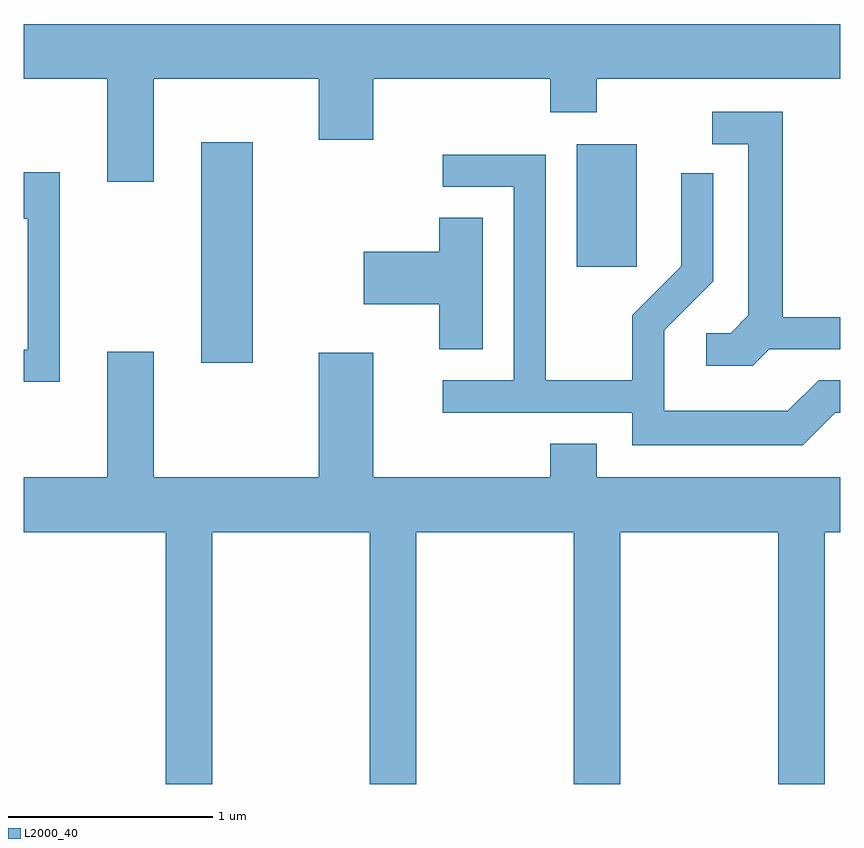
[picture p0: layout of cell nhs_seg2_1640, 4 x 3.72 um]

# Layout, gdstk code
import gdstk
lib = gdstk.Library(unit=1e-6, precision=1e-09)
def R(c, l, rs):  # rectangles x0, y0, x1, y1
    for r in rs: c.add(gdstk.rectangle(r[:2], r[2:], *l))
def P(c, l, *ps):  # polygons
    for p in ps: c.add(gdstk.Polygon(p, *l))
L2000_40 = (2000, 40)

nhs_seg2_1640 = lib.new_cell('nhs_seg2_1640')
R(nhs_seg2_1640, L2000_40, [(234.481,995.866,234.734,996.944), (236.321,996.336,236.614,996.934)])
P(nhs_seg2_1640, L2000_40, [(234.249,997.256),(235.056,997.256),(235.056,996.956),(235.324,996.956),(235.324,997.256),(236.191,997.256),(236.191,997.091),(236.419,997.091),(236.419,997.256),(237.611,997.256),(237.611,997.524),(233.611,997.524),(233.611,997.256),(234.021,997.256),(234.021,996.751),(234.249,996.751)],
  [(237.262,995.931),(237.611,995.931),(237.611,996.089),(237.329,996.089),(237.329,997.094),(236.983,997.094),(236.983,996.936),(237.161,996.936),(237.161,996.097),(237.074,996.009),(236.953,996.009),(236.953,995.851),(237.182,995.851)],
  [(237.587,995.621),(237.611,995.621),(237.611,995.779),(237.504,995.779),(237.354,995.629),(236.749,995.629),(236.749,996.024),(236.989,996.264),(236.989,996.793),(236.831,996.793),(236.831,996.337),(236.591,996.097),(236.591,995.779),(236.169,995.779),(236.169,996.884),(235.663,996.884),(235.663,996.726),(236.011,996.726),(236.011,995.779),(235.663,995.779),(235.663,995.621),(236.591,995.621),(236.591,995.461),(237.427,995.461)],
  [(233.789,996.799),(233.611,996.799),(233.611,996.571),(233.631,996.571),(233.631,995.929),(233.611,995.929),(233.611,995.771),(233.789,995.771)],
  [(235.859,996.574),(235.646,996.574),(235.646,996.409),(235.276,996.409),(235.276,996.151),(235.646,996.151),(235.646,995.931),(235.859,995.931)],
  [(234.534,995.036),(235.306,995.036),(235.306,993.802),(235.534,993.802),(235.534,995.036),(236.306,995.036),(236.306,993.802),(236.534,993.802),(236.534,995.036),(237.306,995.036),(237.306,993.802),(237.534,993.802),(237.534,995.036),(237.611,995.036),(237.611,995.304),(236.419,995.304),(236.419,995.469),(236.191,995.469),(236.191,995.304),(235.324,995.304),(235.324,995.914),(235.056,995.914),(235.056,995.304),(234.249,995.304),(234.249,995.919),(234.021,995.919),(234.021,995.304),(233.611,995.304),(233.611,995.036),(234.306,995.036),(234.306,993.802),(234.534,993.802)])

lib.write_gds('nhs_seg2_1640.gds')
